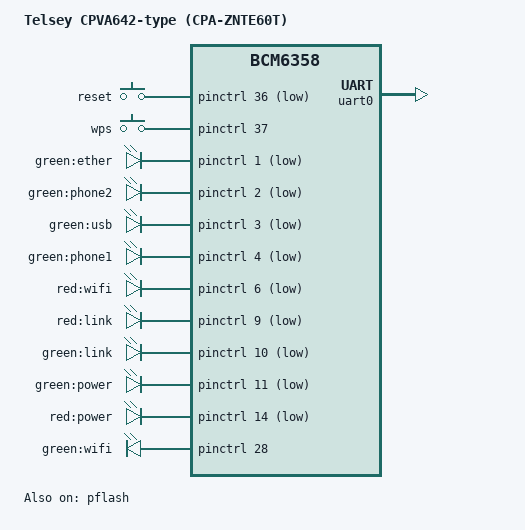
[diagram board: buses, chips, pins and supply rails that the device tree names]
#include "bcm6358.dtsi"

#include <dt-bindings/input/input.h>

/ {
	model = "Telsey CPVA642-type (CPA-ZNTE60T)";
	compatible = "telsey,cpva642", "brcm,bcm6358";

	aliases {
		led-boot = &led_power_green;
		led-failsafe = &led_power_green;
		led-running = &led_power_green;
		led-upgrade = &led_power_green;
	};

	chosen {
		bootargs = "rootfstype=squashfs,jffs2 noinitrd console=ttyS0,115200";
		stdout-path = "serial0:115200n8";
	};

	keys {
		compatible = "gpio-keys-polled";
		#address-cells = <1>;
		#size-cells = <0>;
		poll-interval = <20>;

		reset {
			label = "reset";
			gpios = <&pinctrl 36 1>;
			linux,code = <KEY_RESTART>;
			debounce-interval = <60>;
		};

		wps {
			label = "wps";
			gpios = <&pinctrl 37 0>;
			linux,code = <KEY_WPS_BUTTON>;
			debounce-interval = <60>;
		};
	};

	leds {
		compatible = "gpio-leds";

		eth_green {
			label = "green:ether";
			gpios = <&pinctrl 1 1>;
		};
		phone2_green {
			label = "green:phone2";
			gpios = <&pinctrl 2 1>;
		};
		usb_green {
			label = "green:usb";
			gpios = <&pinctrl 3 1>;
		};
		phone1_green {
			label = "green:phone1";
			gpios = <&pinctrl 4 1>;
		};
		wifi_red {
			label = "red:wifi";
			gpios = <&pinctrl 6 1>;
		};
		link_red {
			label = "red:link";
			gpios = <&pinctrl 9 1>;
		};
		link_green {
			label = "green:link";
			gpios = <&pinctrl 10 1>;
		};
		led_power_green: power_green {
			label = "green:power";
			gpios = <&pinctrl 11 1>;
			default-state = "on";
		};
		power_red {
			label = "red:power";
			gpios = <&pinctrl 14 1>;
		};
		wifi_green {
			label = "green:wifi";
			gpios = <&pinctrl 28 0>;
		};
	};
};

&pflash {
	status = "okay";

	partitions {
		compatible = "fixed-partitions";
		#address-cells = <1>;
		#size-cells = <1>;

		cfe@0 {
			label = "CFE";
			reg = <0x000000 0x010000>;
			read-only;
		};

		linux@10000 {
			label = "linux";
			reg = <0x010000 0x7e0000>;
			compatible = "brcm,bcm963xx-imagetag";
		};

		nvram@7f0000 {
			label = "nvram";
			reg = <0x7f0000 0x010000>;
		};
	};
};

&uart0 {
	status = "okay";
};
